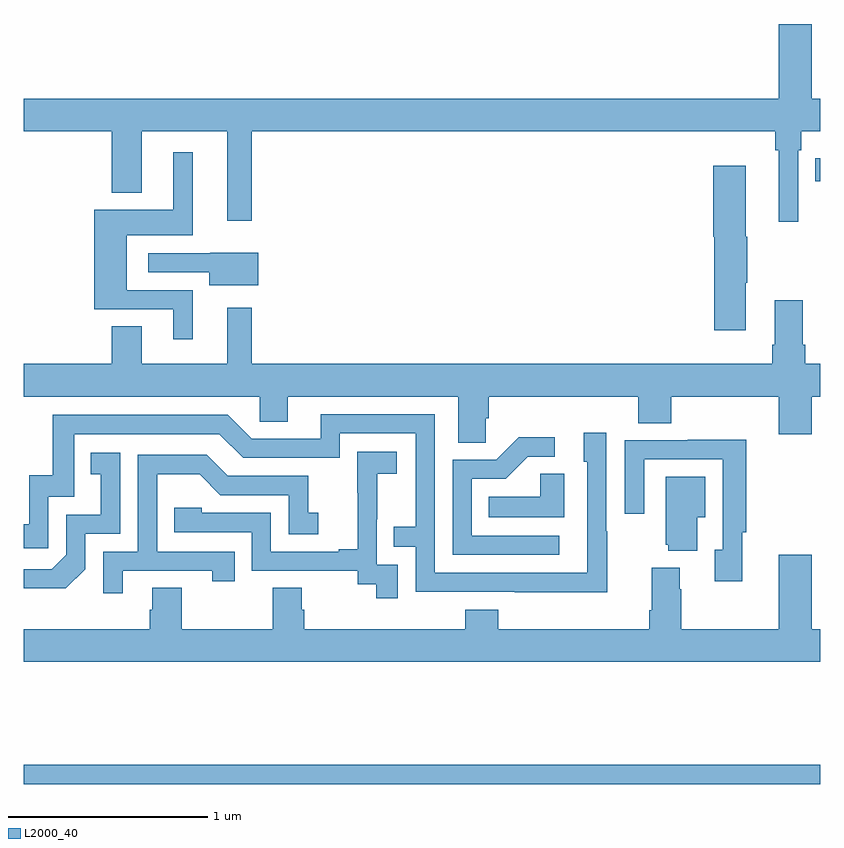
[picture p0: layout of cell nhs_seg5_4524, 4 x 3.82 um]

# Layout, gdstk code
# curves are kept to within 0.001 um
import gdstk
lib = gdstk.Library(unit=1e-6, precision=1e-09)
def R(c, l, rs):  # rectangles x0, y0, x1, y1
    for r in rs: c.add(gdstk.rectangle(r[:2], r[2:], *l))
def P(c, l, *ps):  # polygons
    for p in ps: c.add(gdstk.Polygon(p, *l))
L2000_40 = (2000, 40)

nhs_seg5_4524 = lib.new_cell('nhs_seg5_4524')
R(nhs_seg5_4524, L2000_40, [(377,870.799,381,870.896), (380.974,873.826,381,873.942)])
P(nhs_seg5_4524, L2000_40, [(380.889,873.98),(380.903,873.98),(380.903,874.076),(381,874.076),(381,874.24),(380.956,874.24),(380.956,874.615),(380.792,874.615),(380.792,874.24),(377,874.24),(377,874.076),(377.441,874.076),(377.441,873.767),(377.593,873.767),(377.593,874.076),(378.023,874.076),(378.023,873.627),(378.145,873.627),(378.145,874.076),(380.773,874.076),(380.773,873.98),(380.792,873.98),(380.792,873.621),(380.889,873.621)],
  [(377.848,873.279),(377.518,873.279),(377.518,873.554),(377.848,873.554),(377.848,873.97),(377.75,873.97),(377.75,873.682),(377.354,873.682),(377.354,873.183),(377.75,873.183),(377.75,873.033),(377.848,873.033)],
  [(380.626,873.316),(380.634,873.316),(380.634,873.546),(380.626,873.546),(380.626,873.904),(380.462,873.904),(380.462,873.546),(380.468,873.546),(380.468,873.078),(380.626,873.078)],
  [(378.178,873.466),(377.937,873.466),(377.937,873.465),(377.625,873.465),(377.625,873.369),(377.933,873.369),(377.933,873.302),(378.178,873.302)],
  [(379.32,872.635),(379.334,872.635),(379.334,872.744),(380.087,872.744),(380.087,872.611),(380.252,872.611),(380.252,872.744),(380.792,872.744),(380.792,872.556),(380.956,872.556),(380.956,872.744),(381,872.744),(381,872.908),(380.924,872.908),(380.924,873.004),(380.911,873.004),(380.911,873.229),(380.771,873.229),(380.771,873.004),(380.759,873.004),(380.759,872.908),(378.145,872.908),(378.145,873.19),(378.023,873.19),(378.023,872.908),(377.593,872.908),(377.593,873.098),(377.441,873.098),(377.441,872.908),(377,872.908),(377,872.744),(378.186,872.744),(378.186,872.617),(378.325,872.617),(378.325,872.744),(379.181,872.744),(379.181,872.512),(379.32,872.512)],
  [(379.929,872.069),(379.926,872.069),(379.926,872.563),(379.811,872.563),(379.811,872.418),(379.83,872.418),(379.83,871.86),(379.065,871.86),(379.065,872.655),(378.491,872.655),(378.491,872.532),(378.144,872.532),(378.024,872.652),(377.145,872.652),(377.145,872.35),(377.027,872.35),(377.027,872.103),(377,872.103),(377,871.983),(377.124,871.983),(377.124,872.241),(377.253,872.241),(377.253,872.556),(377.982,872.556),(378.102,872.436),(378.588,872.436),(378.588,872.559),(378.969,872.559),(378.969,872.09),(378.859,872.09),(378.859,871.989),(378.969,871.989),(378.969,871.764),(379.929,871.763)],
  [(379.69,872.046),(379.251,872.046),(379.251,872.331),(379.42,872.331),(379.531,872.442),(379.666,872.442),(379.666,872.54),(379.487,872.54),(379.374,872.427),(379.155,872.427),(379.155,871.95),(379.69,871.95)],
  [(380.609,872.062),(380.627,872.062),(380.627,872.528),(380.335,872.528),(380.335,872.526),(380.019,872.526),(380.019,872.157),(380.115,872.157),(380.115,872.43),(380.511,872.43),(380.511,871.974),(380.471,871.974),(380.471,871.818),(380.609,871.818)],
  [(378.879,871.899),(378.774,871.899),(378.774,872.129),(378.776,872.129),(378.776,872.357),(378.874,872.357),(378.874,872.467),(378.676,872.467),(378.676,872.261),(378.677,872.261),(378.677,871.978),(378.581,871.978),(378.581,871.965),(378.24,871.965),(378.24,872.16),(377.895,872.16),(377.895,872.187),(377.755,872.187),(377.755,872.064),(378.144,872.064),(378.144,871.869),(378.678,871.869),(378.678,871.801),(378.771,871.801),(378.771,871.731),(378.879,871.731)],
  [(377.31,871.878),(377.31,872.055),(377.484,872.055),(377.484,872.461),(377.338,872.461),(377.338,872.355),(377.387,872.355),(377.387,872.151),(377.214,872.151),(377.214,871.95),(377.142,871.878),(377,871.878),(377,871.781),(377.212,871.781)],
  [(377.497,871.869),(377.948,871.869),(377.948,871.818),(378.059,871.818),(378.059,871.965),(377.67,871.965),(377.67,872.354),(377.884,872.354),(377.988,872.25),(378.33,872.25),(378.33,872.052),(378.478,872.052),(378.478,872.161),(378.429,872.161),(378.429,872.346),(378.025,872.346),(377.92,872.451),(377.574,872.451),(377.574,871.965),(377.4,871.965),(377.4,871.758),(377.497,871.758)],
  [(379.714,872.357),(379.593,872.357),(379.593,872.242),(379.336,872.242),(379.336,872.138),(379.714,872.138)],
  [(380.383,872.138),(380.422,872.138),(380.422,872.341),(380.225,872.341),(380.225,872.001),(380.237,872.001),(380.237,871.97),(380.383,871.97)],
  [(381,871.576),(380.956,871.576),(380.956,871.951),(380.792,871.951),(380.792,871.576),(380.301,871.576),(380.301,871.778),(380.293,871.778),(380.293,871.885),(380.153,871.885),(380.153,871.672),(380.141,871.672),(380.141,871.576),(379.382,871.576),(379.382,871.675),(379.217,871.675),(379.217,871.576),(378.41,871.576),(378.41,871.674),(378.397,871.674),(378.397,871.784),(378.25,871.784),(378.25,871.576),(377.793,871.576),(377.793,871.784),(377.645,871.784),(377.645,871.674),(377.633,871.674),(377.633,871.576),(377,871.576),(377,871.412),(381,871.412)])

lib.write_gds('nhs_seg5_4524.gds')
